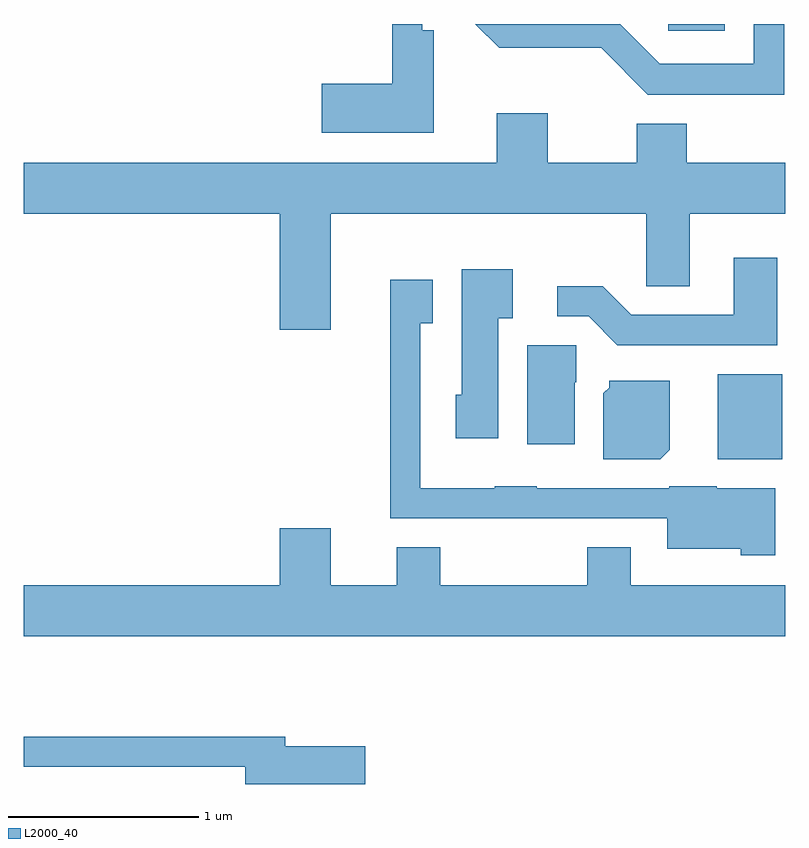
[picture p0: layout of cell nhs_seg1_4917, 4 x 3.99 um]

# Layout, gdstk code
import gdstk
lib = gdstk.Library(unit=1e-6, precision=1e-09)
def R(c, l, rs):  # rectangles x0, y0, x1, y1
    for r in rs: c.add(gdstk.rectangle(r[:2], r[2:], *l))
def P(c, l, *ps):  # polygons
    for p in ps: c.add(gdstk.Polygon(p, *l))
L2000_40 = (2000, 40)

nhs_seg1_4917 = lib.new_cell('nhs_seg1_4917')
R(nhs_seg1_4917, L2000_40, [(337.256,869.426,337.594,869.874), (336.996,871.676,337.294,871.712)])
P(nhs_seg1_4917, L2000_40, [(335.764,871.679),(335.704,871.679),(335.704,871.712),(335.546,871.712),(335.546,871.399),(335.176,871.399),(335.176,871.141),(335.764,871.141)],
  [(337.604,871.712),(337.446,871.712),(337.446,871.504),(336.952,871.504),(336.744,871.712),(335.983,871.712),(336.109,871.586),(336.644,871.586),(336.889,871.341),(337.604,871.341)],
  [(336.831,871.189),(336.831,870.984),(336.364,870.984),(336.364,871.244),(336.096,871.244),(336.096,870.984),(333.611,870.984),(333.611,870.716),(334.956,870.716),(334.956,870.106),(335.224,870.106),(335.224,870.716),(336.881,870.716),(336.881,870.336),(337.109,870.336),(337.109,870.716),(337.611,870.716),(337.611,870.984),(337.094,870.984),(337.094,871.189)],
  [(337.569,870.484),(337.341,870.484),(337.341,870.184),(336.802,870.184),(336.652,870.334),(336.413,870.334),(336.413,870.176),(336.579,870.176),(336.729,870.026),(337.569,870.026)],
  [(336.104,870.166),(336.179,870.166),(336.179,870.424),(335.911,870.424),(335.911,869.764),(335.881,869.764),(335.881,869.536),(336.104,869.536)],
  [(337.559,869.274),(337.25,869.274),(337.25,869.284),(337,869.284),(337,869.274),(336.305,869.274),(336.305,869.284),(336.085,869.284),(336.085,869.274),(335.694,869.274),(335.694,870.141),(335.759,870.141),(335.759,870.369),(335.536,870.369),(335.536,869.116),(336.991,869.116),(336.991,868.956),(337.376,868.956),(337.376,868.921),(337.559,868.921)],
  [(336.504,869.83),(336.514,869.83),(336.514,870.024),(336.256,870.024),(336.256,869.506),(336.504,869.506)],
  [(337.004,869.477),(337.004,869.839),(336.686,869.839),(336.686,869.802),(336.656,869.772),(336.656,869.426),(336.954,869.426)],
  [(337.611,868.764),(336.799,868.764),(336.799,868.964),(336.571,868.964),(336.571,868.764),(335.799,868.764),(335.799,868.964),(335.571,868.964),(335.571,868.764),(335.224,868.764),(335.224,869.064),(334.956,869.064),(334.956,868.764),(333.611,868.764),(333.611,868.496),(337.611,868.496)],
  [(335.404,867.919),(334.984,867.919),(334.984,867.969),(333.611,867.969),(333.611,867.811),(334.776,867.811),(334.776,867.721),(335.404,867.721)])

lib.write_gds('nhs_seg1_4917.gds')
